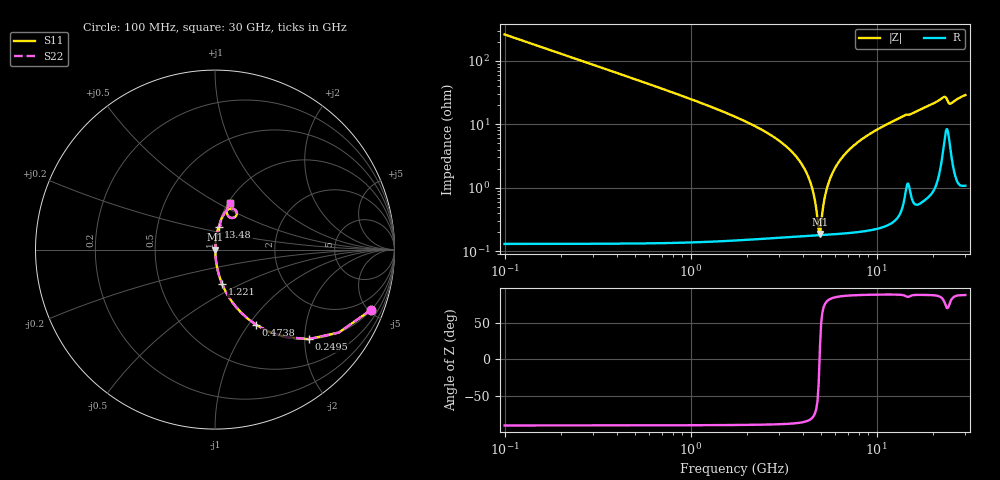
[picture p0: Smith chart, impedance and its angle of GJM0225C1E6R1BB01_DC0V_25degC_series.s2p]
!Murata Part Number: GJM0225C1E6R1BB01
!These Parameters are Measured in Series Mode Connection
!  o--ll--o
!Port1  Port2
!  o------o
!Operation Temp=25[degC], DC Bias Voltage=0[V]
!Freq. Start=100[MHz] Stop=30[GHz], 401[Steps]
!Data Generated on Feb 1, 2023
# Hz S RI R 50
!Freq.(Hz) S11(Real) S11(Imag) S21(Real) S21(Imag) S12(Real) S12(Imag) S22(Real) S22(Imag)
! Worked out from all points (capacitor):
!   401 points, 100 MHz to 30 GHz, reference 50 ohm
!   read as one part in series: C = 6.1 pF near 249.5 MHz
!   lowest |Z| = 187 mohm at 4.959 GHz (marker M1)
!   series resonance near 4.934 GHz, so ESL is about 170 pH
!   S11 on the Smith chart (normalised r, x): 100 MHz: 1.00, -5.22; 249.5 MHz: 1.00, -2.09; 473.8 MHz: 1.00, -1.09; 1.221 GHz: 1.00, -0.40; 13.48 GHz: 1.01, +0.26; 30 GHz: 1.02, +0.58
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1e8  0.8717 -0.3342  0.1283 0.3342  0.1283 0.3342  0.8717 -0.3342
2.495e8  0.521 -0.4989  0.479 0.4989  0.479 0.4989  0.521 -0.4989
4.7375e8  0.2299 -0.4196  0.7701 0.4196  0.7701 0.4196  0.2299 -0.4196
7.7275e8  0.0988 -0.2963  0.9012 0.2963  0.9012 0.2963  0.0988 -0.2963
1.22125e9  0.0399 -0.1922  0.9601 0.1922  0.9601 0.1922  0.0399 -0.1922
3.91225e9  0.00231 -0.0246  0.9977 0.0246  0.9977 0.0246  0.00231 -0.0246
4.4355e9  0.00187 -0.0112  0.9981 0.0112  0.9981 0.0112  0.00187 -0.0112
4.585e9  0.00182 -0.00772  0.9982 0.00772  0.9982 0.00772  0.00182 -0.00772
4.80925e9  0.00178 -0.00268  0.9982 0.00268  0.9982 0.00268  0.00178 -0.00268
4.95875e9  0.00178 0.00054  0.9982 -0.00054  0.9982 -0.00054  0.00178 0.00054
5.10825e9  0.00181 0.00367  0.9982 -0.00367  0.9982 -0.00367  0.00181 0.00367
5.3325e9  0.00187 0.0082  0.9981 -0.0082  0.9981 -0.0082  0.00187 0.0082
5.55675e9  0.00198 0.0126  0.998 -0.0126  0.998 -0.0126  0.00198 0.0126
6.379e9  0.00263 0.0274  0.9974 -0.0274  0.9974 -0.0274  0.00263 0.0274
7.874e9  0.00461 0.0511  0.9954 -0.0511  0.9954 -0.0511  0.00461 0.0511
1.01165e10  0.00911 0.0824  0.9909 -0.0824  0.9909 -0.0824  0.00911 0.0824
1.348025e10  0.0203 0.126  0.9797 -0.126  0.9797 -0.126  0.0203 0.126
1.505e10  0.0287 0.1369  0.9713 -0.1369  0.9713 -0.1369  0.0287 0.1369
2.005825e10  0.05 0.1984  0.95 -0.1984  0.95 -0.1984  0.05 0.1984
2.304825e10  0.1054 0.2263  0.8946 -0.2263  0.8946 -0.2263  0.1054 0.2263
2.50665e10  0.0728 0.1878  0.9272 -0.1878  0.9272 -0.1878  0.0728 0.1878
3e10  0.0856 0.2619  0.9144 -0.2619  0.9144 -0.2619  0.0856 0.2619
